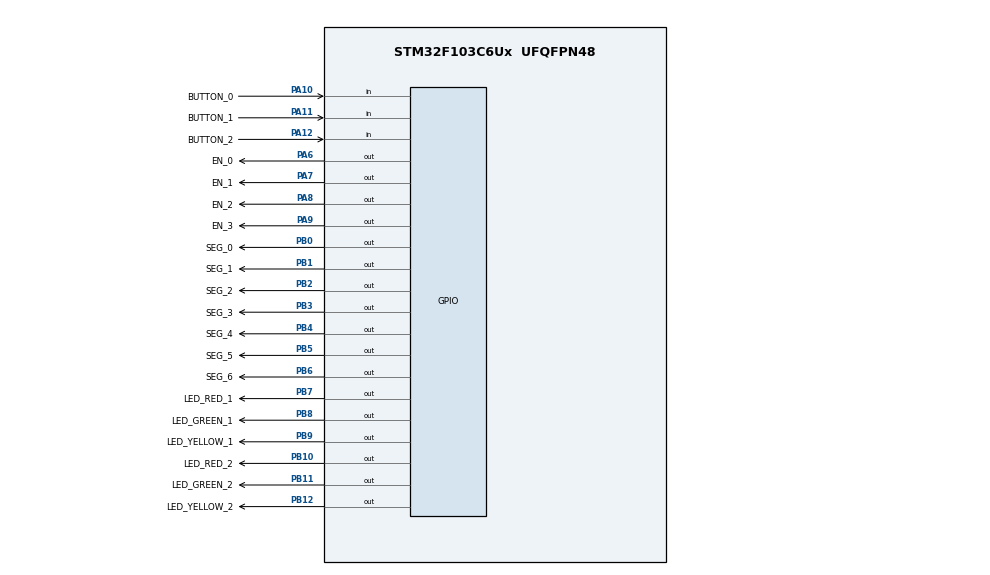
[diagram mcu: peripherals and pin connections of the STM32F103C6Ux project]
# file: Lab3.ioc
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Mcu.Family=STM32F1
Mcu.Name=STM32F103C6Ux
Mcu.Package=UFQFPN48
NVIC.PriorityGroup=NVIC_PRIORITYGROUP_4
NVIC.TIM2_IRQn=true\:0\:0\:false\:false\:true\:true\:true
PA10.GPIO_Label=BUTTON_0
PA10.GPIO_PuPd=GPIO_PULLUP
PA10.Signal=GPIO_Input
PA11.GPIO_Label=BUTTON_1
PA11.GPIO_PuPd=GPIO_PULLUP
PA11.Signal=GPIO_Input
PA12.GPIO_Label=BUTTON_2
PA12.GPIO_PuPd=GPIO_PULLUP
PA12.Signal=GPIO_Input
PA6.GPIO_Label=EN_0
PA6.Signal=GPIO_Output
PA7.GPIO_Label=EN_1
PA7.Signal=GPIO_Output
PA8.GPIO_Label=EN_2
PA8.Signal=GPIO_Output
PA9.GPIO_Label=EN_3
PA9.Signal=GPIO_Output
PB0.GPIO_Label=SEG_0
PB0.Signal=GPIO_Output
PB1.GPIO_Label=SEG_1
PB1.Signal=GPIO_Output
PB10.GPIO_Label=LED_RED_2
PB10.Signal=GPIO_Output
PB11.GPIO_Label=LED_GREEN_2
PB11.Signal=GPIO_Output
PB12.GPIO_Label=LED_YELLOW_2
PB12.Signal=GPIO_Output
PB2.GPIO_Label=SEG_2
PB2.Signal=GPIO_Output
PB3.GPIO_Label=SEG_3
PB3.Signal=GPIO_Output
PB4.GPIO_Label=SEG_4
PB4.Signal=GPIO_Output
PB5.GPIO_Label=SEG_5
PB5.Signal=GPIO_Output
PB6.GPIO_Label=SEG_6
PB6.Signal=GPIO_Output
PB7.GPIO_Label=LED_RED_1
PB7.Signal=GPIO_Output
PB8.GPIO_Label=LED_GREEN_1
PB8.Signal=GPIO_Output
PB9.GPIO_Label=LED_YELLOW_1
PB9.Signal=GPIO_Output
ProjectManager.HeapSize=0x200
ProjectManager.StackSize=0x400
ProjectManager.TargetToolchain=STM32CubeIDE
RCC.APB1Freq_Value=8000000
RCC.APB2Freq_Value=8000000
TIM2.Period=10
TIM2.Prescaler=7999
VP_SYS_VS_ND.Mode=No_Debug
VP_TIM2_VS_ClockSourceINT.Mode=Internal
board=custom

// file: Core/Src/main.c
/* USER CODE BEGIN Header */
/**
 ******************************************************************************
 * @file           : main.c
 * @brief          : Main program body
 ******************************************************************************
 * @attention
 *
 * <h2><center>&copy; Copyright (c) 2022 STMicroelectronics.
 * All rights reserved.</center></h2>
 *
 * This software component is licensed by ST under BSD 3-Clause license,
 * the "License"; You may not use this file except in compliance with the
 * License. You may obtain a copy of the License at:
 *                        opensource.org/licenses/BSD-3-Clause
 *
 ******************************************************************************
 */
/* USER CODE END Header */
#include "main.h"

/* USER CODE BEGIN Includes */
//#include"input_processing.h"
#include"global.h"
#include"timer.h"
#include"traffic_automatic.h"
#include"traffic_modify.h"
#include"traffic_blink.h"
/* USER CODE END Includes */

TIM_HandleTypeDef htim2;

void SystemClock_Config(void);
static void MX_GPIO_Init(void);
static void MX_TIM2_Init(void);

int main(void)
{

  /* MCU Configuration--------------------------------------------------------*/

  /* Reset of all peripherals, Initializes the Flash interface and the Systick. */
  HAL_Init();

  /* Configure the system clock */
  SystemClock_Config();

  /* Initialize all configured peripherals */
  MX_GPIO_Init();
  MX_TIM2_Init();
  /* USER CODE BEGIN 2 */
	HAL_TIM_Base_Start_IT(&htim2);

  /* USER CODE END 2 */

  /* Infinite loop */
  /* USER CODE BEGIN WHILE */

	//	Init timer

	setTimerLed(500);
	setTimerCountDown(10);
	setTimerLed7Seg(10);

	setTimer0(time_red * 1000);
	setTimer1(time_green * 1000);
	// index to choose which led7seg turn on when on scan led
	int index_led_on = 0;
	while (1) {
		fsm_traffic_automatic();
		fsm_traffic_modify();
//		increase value corresponding time when in MODIFY MODE
//		if press button or press one second will increase one unit
		if (is_button2_pressed()) {
			if (status == RED_MODIFY) {
				time_red++;
				time_modify = time_red;
			} else if (status == YELLOW_MODIFY) {
				time_yellow++;
				time_modify = time_yellow;
			} else if (status == GREEN_MODIFY) {
				time_green++;
				time_modify = time_green;
			}
		}
//		scan and display led7seg when on AUTO MODE
		if (ledMode == AUTO_MODE) {
			if (timerLed7Seg_flag == 1) {
				setTimerLed7Seg(250);
				setEnableSignal(index_led_on++, time1, time2);
				if (index_led_on > 3)
					index_led_on = 0;
			}
		}
//		scan and display led7seg when on MODIFY MODE
//		on RED MODIFY MODE
		else if (status == RED_MODE || status == RED_MODIFY) {
			if (timerLed7Seg_flag == 1) {
				setTimerLed7Seg(250);
				setEnableSignal(index_led_on++, time_modify, 2);
				if (index_led_on > 3)
					index_led_on = 0;
			}
		}
//		on YELLOW MODIFY MODE
		else if (status == YELLOW_MODE || status == YELLOW_MODIFY) {
			if (timerLed7Seg_flag == 1) {
				setTimerLed7Seg(250);
				setEnableSignal(index_led_on++, time_modify, 3);
				if (index_led_on > 3)
					index_led_on = 0;
			}
		}
//		on GREEN MODIFY MODE
		else if (status == GREEN_MODE || status == GREEN_MODIFY) {
			if (timerLed7Seg_flag == 1) {
				setTimerLed7Seg(250);
				setEnableSignal(index_led_on++, time_modify, 4);
				if (index_led_on > 3)
					index_led_on = 0;
			}
		}
    /* USER CODE END WHILE */

	}
}

void SystemClock_Config(void)
{
  RCC_OscInitTypeDef RCC_OscInitStruct = {0};
  RCC_ClkInitTypeDef RCC_ClkInitStruct = {0};

  /** Initializes the RCC Oscillators according to the specified parameters
  * in the RCC_OscInitTypeDef structure.
  */
  RCC_OscInitStruct.OscillatorType = RCC_OSCILLATORTYPE_HSI;
  RCC_OscInitStruct.HSIState = RCC_HSI_ON;
  RCC_OscInitStruct.HSICalibrationValue = RCC_HSICALIBRATION_DEFAULT;
  RCC_OscInitStruct.PLL.PLLState = RCC_PLL_NONE;
  if (HAL_RCC_OscConfig(&RCC_OscInitStruct) != HAL_OK)
  {
    Error_Handler();
  }
  /** Initializes the CPU, AHB and APB buses clocks
  */
  RCC_ClkInitStruct.ClockType = RCC_CLOCKTYPE_HCLK|RCC_CLOCKTYPE_SYSCLK
                              |RCC_CLOCKTYPE_PCLK1|RCC_CLOCKTYPE_PCLK2;
  RCC_ClkInitStruct.SYSCLKSource = RCC_SYSCLKSOURCE_HSI;
  RCC_ClkInitStruct.AHBCLKDivider = RCC_SYSCLK_DIV1;
  RCC_ClkInitStruct.APB1CLKDivider = RCC_HCLK_DIV1;
  RCC_ClkInitStruct.APB2CLKDivider = RCC_HCLK_DIV1;

  if (HAL_RCC_ClockConfig(&RCC_ClkInitStruct, FLASH_LATENCY_0) != HAL_OK)
  {
    Error_Handler();
  }
}

static void MX_TIM2_Init(void)
{

  TIM_ClockConfigTypeDef sClockSourceConfig = {0};
  TIM_MasterConfigTypeDef sMasterConfig = {0};

  htim2.Instance = TIM2;
  htim2.Init.Prescaler = 7999;
  htim2.Init.CounterMode = TIM_COUNTERMODE_UP;
  htim2.Init.Period = 10;
  htim2.Init.ClockDivision = TIM_CLOCKDIVISION_DIV1;
  htim2.Init.AutoReloadPreload = TIM_AUTORELOAD_PRELOAD_DISABLE;
  if (HAL_TIM_Base_Init(&htim2) != HAL_OK)
  {
    Error_Handler();
  }
  sClockSourceConfig.ClockSource = TIM_CLOCKSOURCE_INTERNAL;
  if (HAL_TIM_ConfigClockSource(&htim2, &sClockSourceConfig) != HAL_OK)
  {
    Error_Handler();
  }
  sMasterConfig.MasterOutputTrigger = TIM_TRGO_RESET;
  sMasterConfig.MasterSlaveMode = TIM_MASTERSLAVEMODE_DISABLE;
  if (HAL_TIMEx_MasterConfigSynchronization(&htim2, &sMasterConfig) != HAL_OK)
  {
    Error_Handler();
  }

}

static void MX_GPIO_Init(void)
{
  GPIO_InitTypeDef GPIO_InitStruct = {0};

  /* GPIO Ports Clock Enable */
  __HAL_RCC_GPIOA_CLK_ENABLE();
  __HAL_RCC_GPIOB_CLK_ENABLE();

  /*Configure GPIO pin Output Level */
  HAL_GPIO_WritePin(GPIOA, EN_0_Pin|EN_1_Pin|EN_2_Pin|EN_3_Pin, GPIO_PIN_RESET);

  /*Configure GPIO pin Output Level */
  HAL_GPIO_WritePin(GPIOB, SEG_0_Pin|SEG_1_Pin|SEG_2_Pin|LED_RED_2_Pin
                          |LED_GREEN_2_Pin|LED_YELLOW_2_Pin|SEG_3_Pin|SEG_4_Pin
                          |SEG_5_Pin|SEG_6_Pin|LED_RED_1_Pin|LED_GREEN_1_Pin
                          |LED_YELLOW_1_Pin, GPIO_PIN_RESET);

  /*Configure GPIO pins : EN_0_Pin EN_1_Pin EN_2_Pin EN_3_Pin */
  GPIO_InitStruct.Pin = EN_0_Pin|EN_1_Pin|EN_2_Pin|EN_3_Pin;
  GPIO_InitStruct.Mode = GPIO_MODE_OUTPUT_PP;
  GPIO_InitStruct.Pull = GPIO_NOPULL;
  GPIO_InitStruct.Speed = GPIO_SPEED_FREQ_LOW;
  HAL_GPIO_Init(GPIOA, &GPIO_InitStruct);

  /*Configure GPIO pins : SEG_0_Pin SEG_1_Pin SEG_2_Pin LED_RED_2_Pin
                           LED_GREEN_2_Pin LED_YELLOW_2_Pin SEG_3_Pin SEG_4_Pin
                           SEG_5_Pin SEG_6_Pin LED_RED_1_Pin LED_GREEN_1_Pin
                           LED_YELLOW_1_Pin */
  GPIO_InitStruct.Pin = SEG_0_Pin|SEG_1_Pin|SEG_2_Pin|LED_RED_2_Pin
                          |LED_GREEN_2_Pin|LED_YELLOW_2_Pin|SEG_3_Pin|SEG_4_Pin
                          |SEG_5_Pin|SEG_6_Pin|LED_RED_1_Pin|LED_GREEN_1_Pin
                          |LED_YELLOW_1_Pin;
  GPIO_InitStruct.Mode = GPIO_MODE_OUTPUT_PP;
  GPIO_InitStruct.Pull = GPIO_NOPULL;
  GPIO_InitStruct.Speed = GPIO_SPEED_FREQ_LOW;
  HAL_GPIO_Init(GPIOB, &GPIO_InitStruct);

  /*Configure GPIO pins : BUTTON_0_Pin BUTTON_1_Pin BUTTON_2_Pin */
  GPIO_InitStruct.Pin = BUTTON_0_Pin|BUTTON_1_Pin|BUTTON_2_Pin;
  GPIO_InitStruct.Mode = GPIO_MODE_INPUT;
  GPIO_InitStruct.Pull = GPIO_PULLUP;
  HAL_GPIO_Init(GPIOA, &GPIO_InitStruct);

}

/* USER CODE BEGIN 4 */
void HAL_TIM_PeriodElapsedCallback(TIM_HandleTypeDef *htim) {
	getKeyInput();
	timerRun();
}

/* USER CODE END 4 */

void Error_Handler(void)
{
	__disable_irq();
	while (1) {
	}
}

/************************ (C) COPYRIGHT STMicroelectronics *****END OF FILE****/
